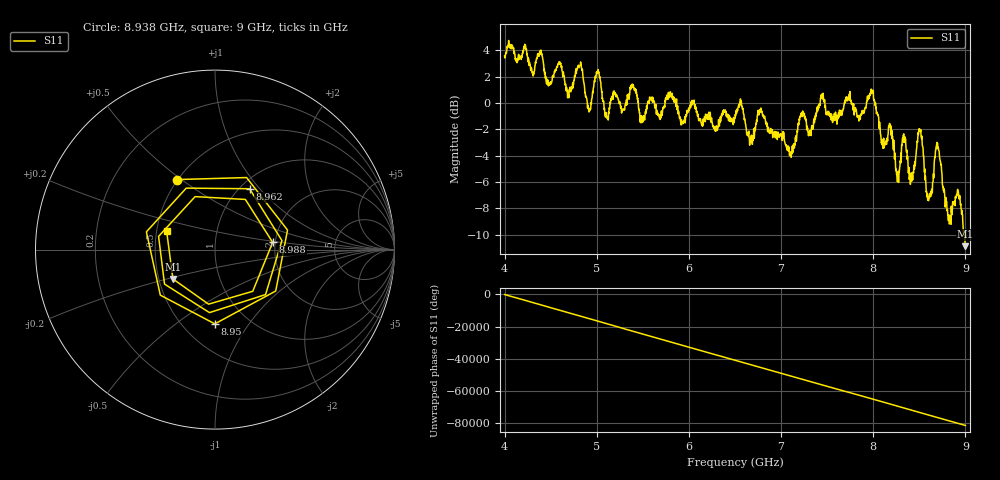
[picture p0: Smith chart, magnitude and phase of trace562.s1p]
! Created with skrf 1.8.0 (http://scikit-rf.org).
# Hz S RI R 50.0
!freq ReS11 ImS11
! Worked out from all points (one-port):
!   1601 points, 4 GHz to 9 GHz, reference 50 ohm
!   lowest |S11| = -10.9 dB at 8.997 GHz (marker M1), VSWR 1.80, Z = 29.6 - j10.5 ohm
!   |S11| at or under -10 dB: 8.98063 GHz to 8.981245 GHz (615.9 kHz wide, 0.00686 % of centre); 8.990172 GHz to end of sweep
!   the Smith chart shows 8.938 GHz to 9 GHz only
!   S11 on the Smith chart (normalised r, x): 8.938 GHz: 0.49, +0.48; 8.95 GHz: 0.71, -0.71; 8.962 GHz: 1.11, +0.88; 8.988 GHz: 1.94, +0.17; 9 GHz: 0.56, +0.13
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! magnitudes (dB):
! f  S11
! 4 GHz  3.5
! 4.625 GHz  2.4
! 4.916 GHz  -0.7
! 5.009 GHz  2.3
! 5.106 GHz  -1.0
! 5.25 GHz  -0.1
! 5.875 GHz  -0.3
! 6.5 GHz  -1.2
! 7.125 GHz  -3.8
! 7.228 GHz  -1.0
! 7.75 GHz  0.4
! 7.988 GHz  0.9
! 8.103 GHz  -3.3
! 8.191 GHz  -2.4
! 8.262 GHz  -6.0
! 8.331 GHz  -2.4
! 8.375 GHz  -4.2
! 8.422 GHz  -5.6
! 8.506 GHz  -2.0
! 8.6 GHz  -7.4
! 8.694 GHz  -3.5
! 8.819 GHz  -8.5
! 8.938 GHz  -7.0
! 8.95 GHz  -7.7
! 8.962 GHz  -8.2
! 8.988 GHz  -9.8
! 8.997 GHz  -10.9
! 9 GHz  -10.8
